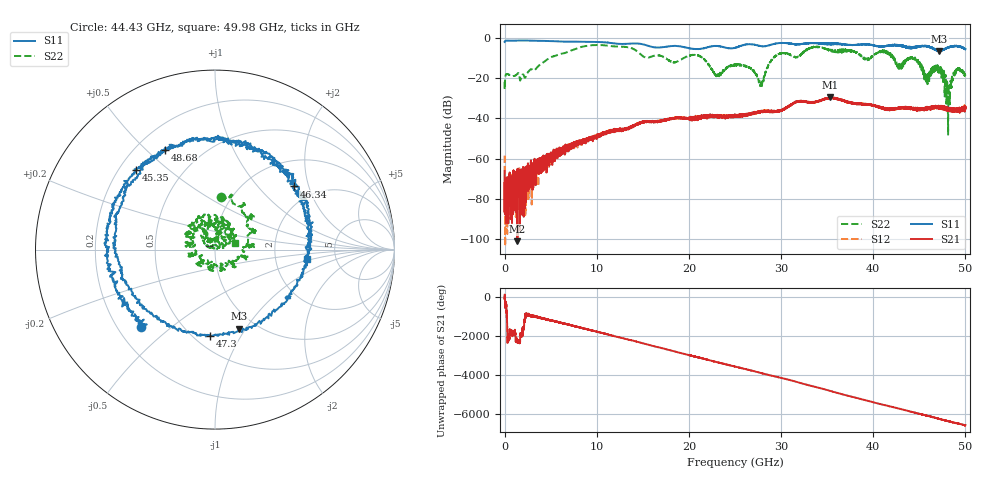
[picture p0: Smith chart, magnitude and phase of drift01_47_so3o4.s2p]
!Created with skrf (http://scikit-rf.org).
# Hz S RI R 50.0
!freq ReS11 ImS11 ReS21 ImS21 ReS12 ImS12 ReS22 ImS22
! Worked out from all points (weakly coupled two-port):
!   10001 points, 300 kHz to 50 GHz, reference 50 ohm
!   highest |S21| = -29.58 dB at 35.35 GHz (marker M1); lowest = -100.9 dB at 1.39 GHz (marker M2)
!   lowest |S11| = -6.7 dB at 47.17 GHz (marker M3), VSWR 2.71, Z = 41.8 - j46.8 ohm
!   |S11| at or under -10 dB: nowhere
!   |S22| runs from -48.1 to -3.6 dB; largest |S21 - S12| = 0.005
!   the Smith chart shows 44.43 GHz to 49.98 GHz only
!   S11 on the Smith chart (normalised r, x): 44.43 GHz: 0.29, -0.40; 45.35 GHz: 0.27, +0.39; 46.34 GHz: 1.56, +1.61; 47.3 GHz: 0.60, -0.75; 48.68 GHz: 0.31, +0.57; 49.98 GHz: 3.06, -0.43
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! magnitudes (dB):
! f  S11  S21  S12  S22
! 300 kHz  -2.1  -66.1  -58.5  -21.9
! 255.3 MHz  -1.4  -72.7  -80.3  -18.0
! 1.39 GHz  -1.4  -100.9  -70.7  -17.9
! 8.335 GHz  -2.0  -51.2  -51.3  -4.6
! 16.67 GHz  -4.9  -41.7  -41.5  -8.7
! 20.95 GHz  -5.6  -39.1  -39.5  -8.7
! 23.07 GHz  -4.1  -38.3  -38.6  -18.6
! 25 GHz  -5.0  -38.7  -39.0  -13.7
! 27.83 GHz  -4.1  -36.8  -36.7  -22.6
! 29.48 GHz  -2.8  -36.4  -36.4  -8.8
! 33.34 GHz  -2.6  -32.0  -32.0  -4.7
! 35.35 GHz  -3.2  -29.6  -29.9  -6.3
! 41.67 GHz  -3.9  -35.2  -35.2  -7.5
! 44.43 GHz  -4.5  -35.3  -35.1  -10.7
! 45.35 GHz  -4.1  -35.1  -35.2  -14.5
! 46.34 GHz  -5.0  -34.7  -34.8  -16.5
! 47.17 GHz  -6.7  -35.0  -34.5  -14.5
! 47.3 GHz  -6.4  -35.2  -34.8  -15.5
! 48.13 GHz  -4.9  -34.7  -35.5  -48.1
! 48.68 GHz  -4.1  -35.9  -36.8  -19.1
! 49.98 GHz  -5.8  -35.8  -35.3  -18.5
! 50 GHz  -5.6  -34.8  -34.6  -18.5
